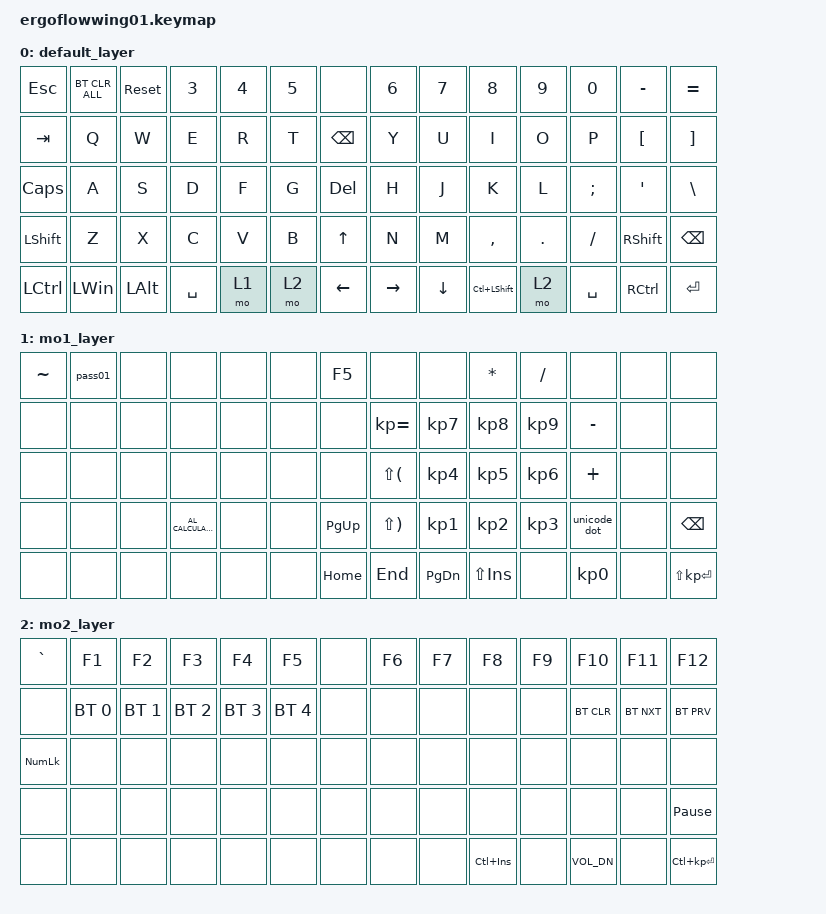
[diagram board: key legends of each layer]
/*
 * Copyright (c) 2020 The ZMK Contributors
 *
 * SPDX-License-Identifier: MIT
 */

#include <behaviors.dtsi>
#include <dt-bindings/zmk/bt.h>
#include <dt-bindings/zmk/keys.h>

#define DEFAULT 0
#define MO1 1
#define MO2 2
#define ADJUST 3

/ {
    macros {
        pass01: pass01 {
            compatible = "zmk,behavior-macro";
            #binding-cells = <0>;
            bindings = <&kp LS(M) &kp B &kp I &kp W &kp B &kp EXCL &kp N9 &kp N8 &kp N0 &kp M &kp B &kp I &kp W &kp B &kp N1>;
            label = "PASS01";
        };

        unicode_dot: unicode_dot {
            compatible = "zmk,behavior-macro";
            #binding-cells = <0>;
            bindings = <&kt LEFT_ALT &kp KP_NUMBER_4 &kp KP_NUMBER_6 &kt LEFT_ALT>;
            label = "UNICODE_DOT";
        };
    };

    keymap {
        compatible = "zmk,keymap";

        default_layer {
            bindings = <
&kp ESC       &bt BT_CLR_ALL  &sys_reset  &kp N3     &kp N4  &kp N5  &none     &kp N6     &kp N7    &kp N8              &kp N9   &kp N0     &kp MINUS        &kp EQUAL
&kp TAB       &kp Q           &kp W       &kp E      &kp R   &kp T   &kp BSPC  &kp Y      &kp U     &kp I               &kp O    &kp P      &kp LBKT         &kp RBKT
&kp CAPSLOCK  &kp A           &kp S       &kp D      &kp F   &kp G   &kp DEL   &kp H      &kp J     &kp K               &kp L    &kp SEMI   &kp SQT          &kp BSLH
&kp LSHFT     &kp Z           &kp X       &kp C      &kp V   &kp B   &kp UP    &kp N      &kp M     &kp COMMA           &kp DOT  &kp FSLH   &kp RIGHT_SHIFT  &kp BSPC
&kp LCTRL     &kp LEFT_WIN    &kp LALT    &kp SPACE  &mo 1   &mo 2   &kp LEFT  &kp RIGHT  &kp DOWN  &kp LC(LEFT_SHIFT)  &mo 2    &kp SPACE  &kp RCTRL        &kp RET
            >;
        };

        mo1_layer {
            bindings = <
&kp TILDE  &pass01  &none  &none                &none  &none  &kp F5     &none         &none            &kp STAR         &kp FSLH         &none            &none  &none
&none      &none    &none  &none                &none  &none  &none      &kp KP_EQUAL  &kp KP_NUMBER_7  &kp KP_NUMBER_8  &kp KP_NUMBER_9  &kp MINUS        &none  &none
&none      &none    &none  &none                &none  &none  &none      &kp LS(LPAR)  &kp KP_NUMBER_4  &kp KP_NUMBER_5  &kp KP_NUMBER_6  &kp PLUS         &none  &none
&none      &none    &none  &kp C_AL_CALCULATOR  &none  &none  &kp PG_UP  &kp LS(RPAR)  &kp KP_NUMBER_1  &kp KP_NUMBER_2  &kp KP_NUMBER_3  &unicode_dot     &none  &kp BSPC
&none      &none    &none  &none                &none  &none  &kp HOME   &kp END       &kp PG_DN        &kp LS(INS)      &none            &kp KP_NUMBER_0  &none  &kp LS(KP_ENTER)
            >;
        };

        mo2_layer {
            bindings = <
&kp GRAVE       &kp F1        &kp F2        &kp F3        &kp F4        &kp F5        &none  &kp F6  &kp F7  &kp F8       &kp F9  &kp F10       &kp F11     &kp F12
&none           &bt BT_SEL 0  &bt BT_SEL 1  &bt BT_SEL 2  &bt BT_SEL 3  &bt BT_SEL 4  &none  &none   &none   &none        &none   &bt BT_CLR    &bt BT_NXT  &bt BT_PRV
&kp KP_NUMLOCK  &none         &none         &none         &none         &none         &none  &none   &none   &none        &none   &none         &none       &none
&none           &none         &none         &none         &none         &none         &none  &none   &none   &none        &none   &none         &none       &kp PAUSE_BREAK
&none           &none         &none         &none         &none         &none         &none  &none   &none   &kp LC(INS)  &none   &kp C_VOL_DN  &none       &kp LC(KP_ENTER)
            >;
        };
    };
};
